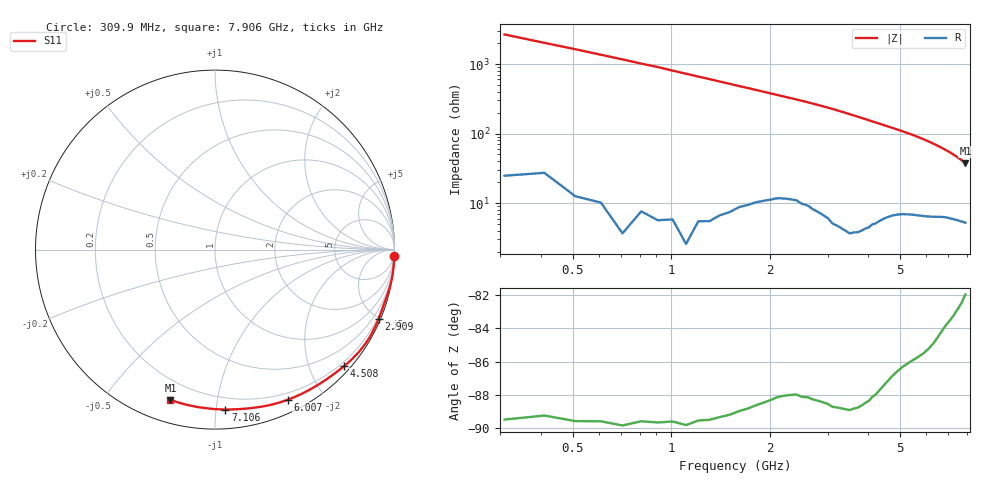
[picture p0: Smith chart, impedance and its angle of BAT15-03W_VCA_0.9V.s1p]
! Infineon Technologies  Discrete & RF Semiconductors
! BAT15-03W-E6327
! VCA = 0.9 V
! One-Port S-Parameters
# Hz  S  MA  R  50
!f  S11
!Hz  Mag  Ang
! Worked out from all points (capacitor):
!   77 points, 309.9 MHz to 7.906 GHz, reference 50 ohm
!   read as one part to ground: C = 193 fF near 309.9 MHz
!   lowest |Z| = 37.4 ohm at 7.906 GHz (marker M1)
!   S11 on the Smith chart (normalised r, x): 309.9 MHz: 0, -53; 2.909 GHz: 0.13, -4.92; 4.508 GHz: 0.12, -2.60; 6.007 GHz: 0.13, -1.59; 7.106 GHz: 0.12, -1.06; 7.906 GHz: 0.10, -0.74
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3.0985e8  0.9997 -2.2
9.0955e8  0.9993 -6.3
1.30935e9  0.9985 -9.4
1.70915e9  0.9955 -12.6
2.2089e9  0.9902 -16.7
2.6087e9  0.9888 -20.1
2.90855e9  0.9894 -22.9
3.2084e9  0.9904 -26.1
3.4083e9  0.9905 -28.3
3.6082e9  0.9895 -30.7
3.90805e9  0.9851 -34.4
4.10795e9  0.9804 -36.9
4.50775e9  0.969 -42.0
4.70765e9  0.9626 -44.6
5.10745e9  0.9513 -50.1
5.4073e9  0.9443 -54.4
5.6072e9  0.9397 -57.5
5.8071e9  0.9347 -60.7
6.007e9  0.9293 -64.2
6.30685e9  0.92 -69.8
6.50675e9  0.9126 -73.6
6.70665e9  0.905 -77.7
7.0065e9  0.8953 -84.0
7.10645e9  0.8928 -86.3
7.30635e9  0.8878 -91.0
7.50625e9  0.8829 -95.9
7.70615e9  0.8785 -101.0
7.90605e9  0.874 -106.5
